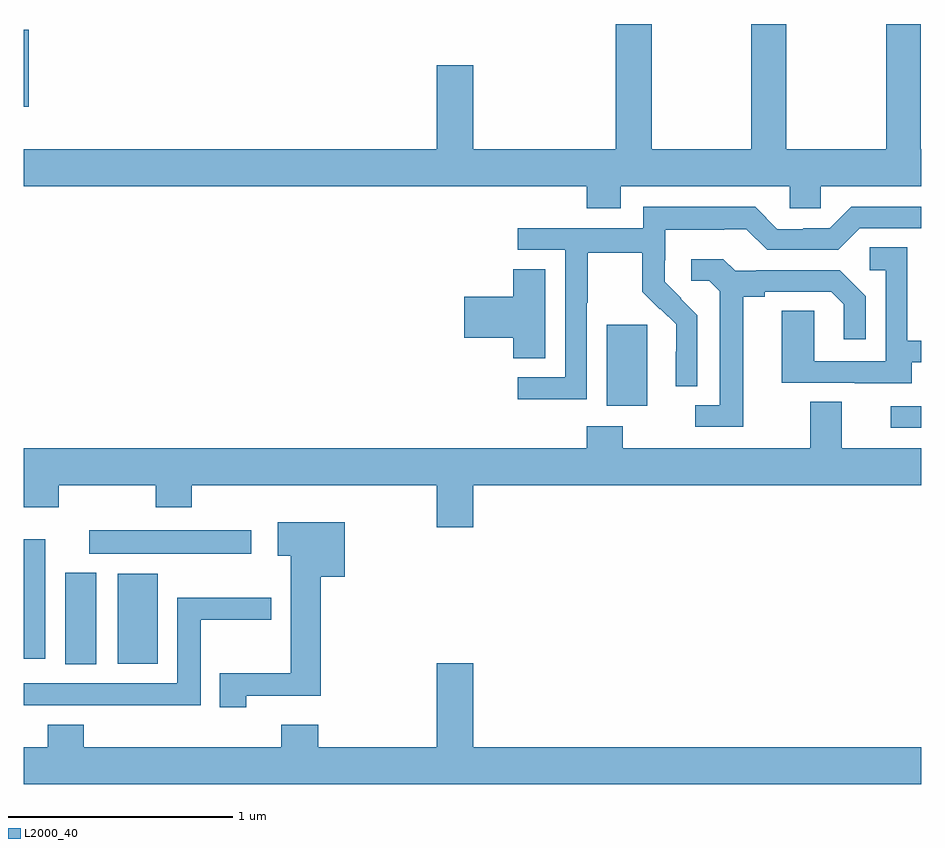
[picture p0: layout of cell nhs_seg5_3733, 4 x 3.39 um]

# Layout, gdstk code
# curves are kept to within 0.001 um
import gdstk
lib = gdstk.Library(unit=1e-6, precision=1e-09)
def R(c, l, rs):  # rectangles x0, y0, x1, y1
    for r in rs: c.add(gdstk.rectangle(r[:2], r[2:], *l))
def P(c, l, *ps):  # polygons
    for p in ps: c.add(gdstk.Polygon(p, *l))
L2000_40 = (2000, 40)

nhs_seg5_3733 = lib.new_cell('nhs_seg5_3733')
R(nhs_seg5_3733, L2000_40, [(331.184,871.945,331.324,872.353), (331.418,871.949,331.597,872.35), (331,871.971,331.096,872.503), (331.293,872.438,332.014,872.542), (334.863,873,335,873.096), (333.599,873.098,333.778,873.459), (331,874.43,331.022,874.774)])
P(nhs_seg5_3733, L2000_40, [(333.661,874.076),(334.413,874.076),(334.413,873.978),(334.551,873.978),(334.551,874.076),(335,874.076),(335,874.24),(334.998,874.24),(334.998,874.799),(334.843,874.799),(334.843,874.24),(334.398,874.24),(334.398,874.799),(334.243,874.799),(334.243,874.24),(333.798,874.24),(333.798,874.799),(333.638,874.799),(333.638,874.24),(333.004,874.24),(333.004,874.615),(332.84,874.615),(332.84,874.24),(331,874.24),(331,874.076),(333.509,874.076),(333.509,873.977),(333.661,873.977)],
  [(333.51,873.556),(333.513,873.556),(333.513,873.78),(333.757,873.78),(333.757,873.605),(333.834,873.528),(333.837,873.531),(333.908,873.461),(333.908,873.338),(333.906,873.338),(333.906,873.184),(334.002,873.184),(334.002,873.502),(333.856,873.65),(333.856,873.747),(333.858,873.747),(333.858,873.881),(334.121,873.881),(334.121,873.885),(334.221,873.885),(334.314,873.792),(334.629,873.792),(334.725,873.888),(335,873.888),(335,873.984),(334.689,873.984),(334.593,873.888),(334.475,873.888),(334.475,873.885),(334.359,873.885),(334.259,873.985),(333.762,873.985),(333.762,873.888),(333.201,873.888),(333.201,873.792),(333.414,873.792),(333.414,873.225),(333.201,873.225),(333.201,873.127),(333.51,873.127)],
  [(334.957,873.291),(335,873.291),(335,873.387),(334.938,873.387),(334.938,873.803),(334.77,873.803),(334.77,873.702),(334.842,873.702),(334.842,873.297),(334.524,873.297),(334.524,873.521),(334.379,873.521),(334.379,873.201),(334.703,873.201),(334.703,873.197),(334.957,873.197)],
  [(334.207,873.584),(334.303,873.584),(334.303,873.606),(334.598,873.606),(334.655,873.549),(334.655,873.393),(334.752,873.393),(334.752,873.586),(334.636,873.702),(334.264,873.702),(334.264,873.699),(334.17,873.699),(334.118,873.751),(333.975,873.751),(333.975,873.654),(334.056,873.654),(334.103,873.607),(334.103,873.099),(333.993,873.099),(333.993,873.003),(334.207,873.003)],
  [(333.325,873.707),(333.182,873.707),(333.182,873.584),(332.964,873.584),(332.964,873.401),(333.182,873.401),(333.182,873.31),(333.325,873.31)],
  [(333.004,872.744),(335,872.744),(335,872.908),(334.645,872.908),(334.645,873.116),(334.505,873.116),(334.505,872.908),(333.669,872.908),(333.669,873.007),(333.509,873.007),(333.509,872.908),(331,872.908),(331,872.645),(331.155,872.645),(331.155,872.744),(331.588,872.744),(331.588,872.645),(331.748,872.645),(331.748,872.744),(332.84,872.744),(332.84,872.556),(333.004,872.556)],
  [(331.992,871.805),(332.324,871.805),(332.324,872.336),(332.431,872.336),(332.431,872.578),(332.133,872.578),(332.133,872.429),(332.189,872.429),(332.189,871.905),(331.874,871.905),(331.874,871.755),(331.992,871.755)],
  [(331.789,872.143),(332.104,872.143),(332.104,872.243),(331.685,872.243),(331.685,871.86),(331,871.86),(331,871.764),(331.351,871.764),(331.351,871.763),(331.789,871.763)],
  [(335,871.576),(333.004,871.576),(333.004,871.951),(332.84,871.951),(332.84,871.576),(332.312,871.576),(332.312,871.675),(332.147,871.675),(332.147,871.576),(331.268,871.576),(331.268,871.675),(331.108,871.675),(331.108,871.576),(331,871.576),(331,871.412),(335,871.412)])

lib.write_gds('nhs_seg5_3733.gds')
